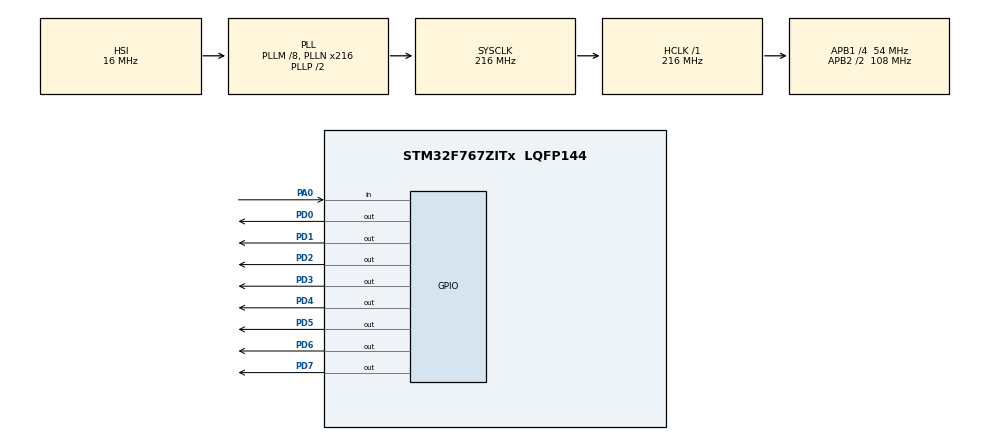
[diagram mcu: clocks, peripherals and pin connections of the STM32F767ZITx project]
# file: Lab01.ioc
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Mcu.Family=STM32F7
Mcu.Name=STM32F767ZITx
Mcu.Package=LQFP144
NVIC.PriorityGroup=NVIC_PRIORITYGROUP_4
PA0/WKUP.Signal=GPIO_Input
PD0.Signal=GPIO_Output
PD1.Signal=GPIO_Output
PD2.Signal=GPIO_Output
PD3.Signal=GPIO_Output
PD4.Signal=GPIO_Output
PD5.Signal=GPIO_Output
PD6.Signal=GPIO_Output
PD7.Signal=GPIO_Output
ProjectManager.HeapSize=0x200
ProjectManager.StackSize=0x400
ProjectManager.TargetToolchain=STM32CubeIDE
RCC.AHBFreq_Value=216000000
RCC.APB1CLKDivider=RCC_HCLK_DIV4
RCC.APB1Freq_Value=54000000
RCC.APB1TimFreq_Value=108000000
RCC.APB2CLKDivider=RCC_HCLK_DIV2
RCC.APB2Freq_Value=108000000
RCC.APB2TimFreq_Value=216000000
RCC.CortexFreq_Value=216000000
RCC.HCLKFreq_Value=216000000
RCC.HSE_VALUE=25000000
RCC.HSI_VALUE=16000000
RCC.LSE_VALUE=32768
RCC.PLLM=8
RCC.PLLN=216
RCC.SYSCLKFreq_VALUE=216000000
RCC.SYSCLKSource=RCC_SYSCLKSOURCE_PLLCLK
RCC.USBFreq_Value=216000000
RCC.VCOOutputFreq_Value=432000000
board=custom

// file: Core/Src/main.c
/* USER CODE BEGIN Header */
/**
  ******************************************************************************
  * @file           : main.c
  * @brief          : Main program body
  ******************************************************************************
  * @attention
  *
  * Copyright (c) 2023 STMicroelectronics.
  * All rights reserved.
  *
  * This software is licensed under terms that can be found in the LICENSE file
  * in the root directory of this software component.
  * If no LICENSE file comes with this software, it is provided AS-IS.
  *
  ******************************************************************************
  */
/* USER CODE END Header */
#include "main.h"
#include "gpio.h"

/* USER CODE BEGIN PV */
uint8_t num = 0;
uint8_t led0 = 0;
uint8_t led1 = 0;
uint8_t led2 = 0;
/* USER CODE END PV */

void SystemClock_Config(void);

int main(void)
{

  /* MCU Configuration--------------------------------------------------------*/

  /* Reset of all peripherals, Initializes the Flash interface and the Systick. */
  HAL_Init();

  /* Configure the system clock */
  SystemClock_Config();

  /* Initialize all configured peripherals */
  MX_GPIO_Init();

  /* Infinite loop */
  /* USER CODE BEGIN WHILE */
  while (1)
  {
	  // Set LEDs
	  HAL_GPIO_WritePin(GPIOB, GPIO_PIN_14, GPIO_PIN_SET ); // MSB
	  //Delay
	  led0 = 1;
	  HAL_Delay(300);
	  HAL_GPIO_WritePin(GPIOB, GPIO_PIN_7, GPIO_PIN_SET);
	  //Delay
	  led1 = 1;
	  HAL_Delay(300);
	  HAL_GPIO_WritePin(GPIOB, GPIO_PIN_0, GPIO_PIN_SET); // LSB
	  led2 = 1;
	  //Delay
	  HAL_Delay(300);

	  // Reset all LEDs
	  HAL_GPIO_WritePin(GPIOB, GPIO_PIN_14, GPIO_PIN_RESET); // MSB
	  led0 = 0;
	  HAL_Delay(300);
	  HAL_GPIO_WritePin(GPIOB, GPIO_PIN_7, GPIO_PIN_RESET);
	  led1 = 0;
	  HAL_Delay(300);
	  HAL_GPIO_WritePin(GPIOB, GPIO_PIN_0, GPIO_PIN_RESET); // LSB
	  led2 = 0;
	  //Delay
	  HAL_Delay(300);

	  num++;
	  if(num > 7)
		  num = 0;

    /* USER CODE END WHILE */

  }
}

void SystemClock_Config(void)
{
  RCC_OscInitTypeDef RCC_OscInitStruct = {0};
  RCC_ClkInitTypeDef RCC_ClkInitStruct = {0};

  /** Configure the main internal regulator output voltage
  */
  __HAL_RCC_PWR_CLK_ENABLE();
  __HAL_PWR_VOLTAGESCALING_CONFIG(PWR_REGULATOR_VOLTAGE_SCALE1);

  /** Initializes the RCC Oscillators according to the specified parameters
  * in the RCC_OscInitTypeDef structure.
  */
  RCC_OscInitStruct.OscillatorType = RCC_OSCILLATORTYPE_HSI;
  RCC_OscInitStruct.HSIState = RCC_HSI_ON;
  RCC_OscInitStruct.HSICalibrationValue = RCC_HSICALIBRATION_DEFAULT;
  RCC_OscInitStruct.PLL.PLLState = RCC_PLL_ON;
  RCC_OscInitStruct.PLL.PLLSource = RCC_PLLSOURCE_HSI;
  RCC_OscInitStruct.PLL.PLLM = 8;
  RCC_OscInitStruct.PLL.PLLN = 216;
  RCC_OscInitStruct.PLL.PLLP = RCC_PLLP_DIV2;
  RCC_OscInitStruct.PLL.PLLQ = 2;
  RCC_OscInitStruct.PLL.PLLR = 2;
  if (HAL_RCC_OscConfig(&RCC_OscInitStruct) != HAL_OK)
  {
    Error_Handler();
  }

  /** Activate the Over-Drive mode
  */
  if (HAL_PWREx_EnableOverDrive() != HAL_OK)
  {
    Error_Handler();
  }

  /** Initializes the CPU, AHB and APB buses clocks
  */
  RCC_ClkInitStruct.ClockType = RCC_CLOCKTYPE_HCLK|RCC_CLOCKTYPE_SYSCLK
                              |RCC_CLOCKTYPE_PCLK1|RCC_CLOCKTYPE_PCLK2;
  RCC_ClkInitStruct.SYSCLKSource = RCC_SYSCLKSOURCE_PLLCLK;
  RCC_ClkInitStruct.AHBCLKDivider = RCC_SYSCLK_DIV1;
  RCC_ClkInitStruct.APB1CLKDivider = RCC_HCLK_DIV4;
  RCC_ClkInitStruct.APB2CLKDivider = RCC_HCLK_DIV2;

  if (HAL_RCC_ClockConfig(&RCC_ClkInitStruct, FLASH_LATENCY_7) != HAL_OK)
  {
    Error_Handler();
  }
}

void Error_Handler(void)
{
  __disable_irq();
  while (1)
  {
  }
}
